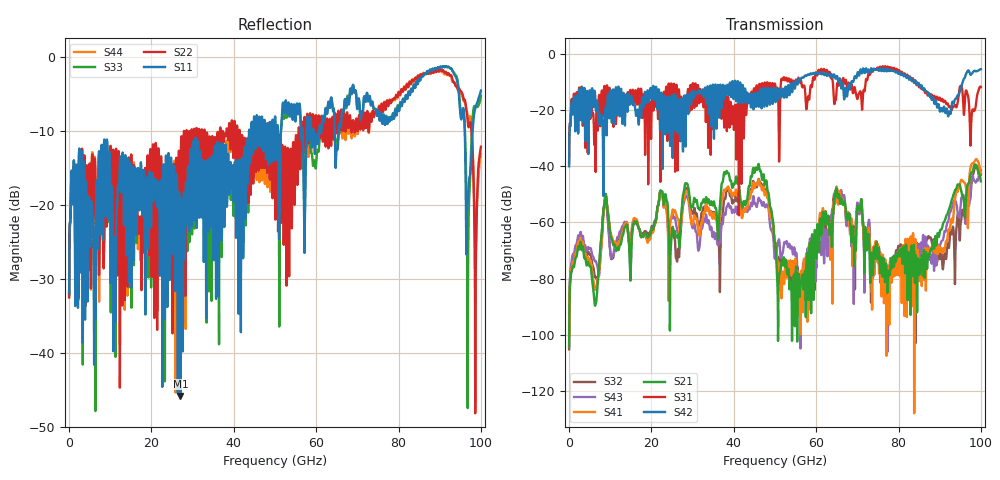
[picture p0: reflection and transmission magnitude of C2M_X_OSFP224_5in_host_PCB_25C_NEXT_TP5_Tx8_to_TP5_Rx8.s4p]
# GHz S RI R 45
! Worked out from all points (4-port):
!   4000 points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, 25 MHz to 100 GHz, reference 45 ohm
!   strongest paths, dB at 25 MHz, 25.02 GHz, 50.02 GHz, 75.03 GHz, 100 GHz:
!     S42: -40.0, -17.8, -15.3, -5.3, -5.4
!     S31: -38.9, -14.8, -10.6, -5.1, -11.7
!     S21: -104.2, -63.3, -67.4, -71.8, -45.4
!     S41: -100.6, -56.4, -67.5, -67.9, -42.3
!     S43: -92.0, -57.7, -72.2, -73.4, -41.4
!     S32: -105.2, -62.3, -68.6, -69.2, -42.9
!   lowest |S11| = -45.8 dB at 27.05 GHz (marker M1), VSWR 1.01, Z = 45.2 - j0.428 ohm
!   |S11| at or under -10 dB: start of sweep to 43.71 GHz; 59.39 GHz to 60.74 GHz (1.355 GHz wide, 2.26 % of centre); 96.08 GHz to 98 GHz (1.928 GHz wide, 1.99 % of centre) (the widest 3 of 21)
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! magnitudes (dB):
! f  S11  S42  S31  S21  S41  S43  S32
! 25 MHz  -32.0  -40.0  -38.9  -104.2  -100.6  -92.0  -105.2
! 27.05 GHz  -45.8  -31.1  -21.4  -61.3  -61.9  -63.9  -61.4
! 45.75 GHz  -9.4  -13.6  -12.2  -40.8  -46.1  -53.3  -46.4
! 50.88 GHz  -14.8  -15.4  -21.1  -83.1  -77.8  -66.2  -72.5
! 65.1 GHz  -12.5  -7.9  -10.7  -49.8  -48.3  -51.2  -48.5
! 77.4 GHz  -8.9  -5.4  -4.5  -81.9  -76.0  -106.0  -78.6
! 100 GHz  -4.6  -5.4  -11.7  -45.4  -42.3  -41.4  -42.9
